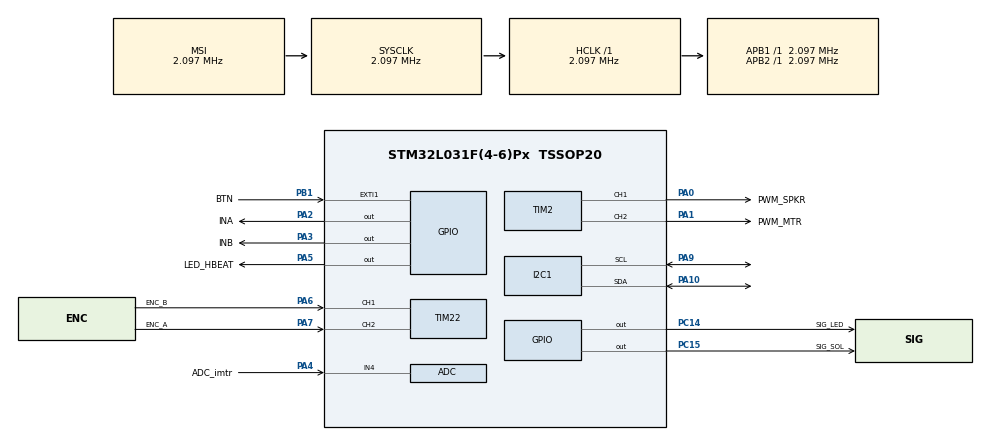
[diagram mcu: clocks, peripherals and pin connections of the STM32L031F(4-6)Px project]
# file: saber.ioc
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Mcu.Family=STM32L0
Mcu.Name=STM32L031F(4-6)Px
Mcu.Package=TSSOP20
NVIC.EXTI0_1_IRQn=true\:0\:0\:false\:false\:true\:true\:true
PA0-CK_IN.GPIO_Label=PWM_SPKR
PA0-CK_IN.Signal=S_TIM2_CH1
PA1.GPIO_Label=PWM_MTR
PA1.Signal=S_TIM2_CH2
PA10.Mode=I2C
PA10.Signal=I2C1_SDA
PA13.Mode=Serial_Wire
PA13.Signal=SYS_SWDIO
PA14.Mode=Serial_Wire
PA14.Signal=SYS_SWCLK
PA2.GPIO_Label=INA
PA2.GPIO_Speed=GPIO_SPEED_FREQ_LOW
PA2.Signal=GPIO_Output
PA3.GPIO_Label=INB
PA3.Signal=GPIO_Output
PA4.GPIO_Label=ADC_imtr
PA4.Mode=IN4
PA4.Signal=ADC_IN4
PA5.GPIO_Label=LED_HBEAT
PA5.GPIO_ModeDefaultOutputPP=GPIO_MODE_OUTPUT_OD
PA5.GPIO_PuPd=GPIO_PULLUP
PA5.Signal=GPIO_Output
PA6.GPIO_Label=ENC_B
PA6.Signal=S_TIM22_CH1
PA7.GPIO_Label=ENC_A
PA7.Signal=S_TIM22_CH2
PA9.Mode=I2C
PA9.Signal=I2C1_SCL
PB1.GPIO_Label=BTN
PB1.GPIO_ModeDefaultEXTI=GPIO_MODE_IT_RISING
PB1.GPIO_PuPd=GPIO_PULLDOWN
PB1.Signal=GPXTI1
PC14-OSC32_IN.GPIO_Label=SIG_LED
PC14-OSC32_IN.GPIO_ModeDefaultOutputPP=GPIO_MODE_OUTPUT_OD
PC14-OSC32_IN.GPIO_PuPd=GPIO_PULLUP
PC14-OSC32_IN.Signal=GPIO_Output
PC15-OSC32_OUT.GPIO_Label=SIG_SOL
PC15-OSC32_OUT.GPIO_ModeDefaultOutputPP=GPIO_MODE_OUTPUT_OD
PC15-OSC32_OUT.GPIO_PuPd=GPIO_PULLUP
PC15-OSC32_OUT.Signal=GPIO_Output
ProjectManager.HeapSize=0x200
ProjectManager.StackSize=0x400
ProjectManager.TargetToolchain=STM32CubeIDE
RCC.AHBFreq_Value=2097000
RCC.APB1Freq_Value=2097000
RCC.APB1TimFreq_Value=2097000
RCC.APB2Freq_Value=2097000
RCC.APB2TimFreq_Value=2097000
RCC.HSE_VALUE=8000000
RCC.HSI16_VALUE=16000000
RCC.HSI_VALUE=16000000
RCC.LSE_VALUE=32768
RCC.MSI_VALUE=2097000
RCC.SYSCLKFreq_VALUE=2097000
RCC.VCOOutputFreq_Value=48000000
SH.S_TIM22_CH1.0=TIM22_CH1,Encoder_Interface
SH.S_TIM22_CH2.0=TIM22_CH2,Encoder_Interface
SH.S_TIM2_CH1.0=TIM2_CH1,PWM Generation1 CH1
SH.S_TIM2_CH2.0=TIM2_CH2,PWM Generation2 CH2
TIM2.Channel-PWM\ Generation1\ CH1=TIM_CHANNEL_1
TIM2.Channel-PWM\ Generation2\ CH2=TIM_CHANNEL_2
board=custom

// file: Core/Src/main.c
/* USER CODE BEGIN Header */
/**
  ******************************************************************************
  * @file           : main.c
  * @brief          : Main program body
  ******************************************************************************
  * @attention
  *
  * <h2><center>&copy; Copyright (c) 2021 STMicroelectronics.
  * All rights reserved.</center></h2>
  *
  * This software component is licensed by ST under BSD 3-Clause license,
  * the "License"; You may not use this file except in compliance with the
  * License. You may obtain a copy of the License at:
  *                        opensource.org/licenses/BSD-3-Clause
  *
  ******************************************************************************
  */
/* USER CODE END Header */

#include "main.h"

/* USER CODE BEGIN Includes */
#include "hardware.h"
/* USER CODE END Includes */

/* USER CODE BEGIN PD */
#define DO_HBEAT
/* USER CODE END PD */

ADC_HandleTypeDef hadc;

I2C_HandleTypeDef hi2c1;

TIM_HandleTypeDef htim2;
TIM_HandleTypeDef htim22;

/* USER CODE BEGIN PV */

SABER_ExecState SaberState = SABER_OFF;

// Communication
HAL_StatusTypeDef out = HAL_OK;

// Global Timing
uint32_t ticksPerSec;  // for timing: stm32l0xx_hal.h, period2ticks
uint32_t lastTick_DEBOUNCE = 0;
uint32_t ticksDEBOUNCE;

/* USER CODE END PV */

void SystemClock_Config(void);
static void MX_GPIO_Init(void);
static void MX_I2C1_Init(void);
static void MX_ADC_Init(void);
static void MX_TIM2_Init(void);
static void MX_TIM22_Init(void);
/* USER CODE BEGIN PFP */
static inline void nextState_USER(void);
static inline void execSaberExtend(void);
static inline void execSaberRetract(void);
static inline uint32_t Period2Ticks(float);
static inline uint16_t accVal(uint8_t*);
/* USER CODE END PFP */

int main(void)
{
  /* USER CODE BEGIN 1 */
  __disable_irq();  // wait for setup
  static const uint8_t accRaw[10] = {0,0,0,0,0,0,0,0,0,0};
  static const uint8_t accTxPacket[1] = {ACC_X_MSB_ADDR};
  /* USER CODE END 1 */

  /* MCU Configuration--------------------------------------------------------*/

  /* Reset of all peripherals, Initializes the Flash interface and the Systick. */
  HAL_Init();

  /* Configure the system clock */
  SystemClock_Config();

  /* USER CODE BEGIN SysInit */
  // Timing Configuration
  switch (uwTickFreq) {
    case HAL_TICK_FREQ_10HZ :
      ticksPerSec = 10;
      break;
    case HAL_TICK_FREQ_100HZ :
      ticksPerSec = 100;
      break;
    case HAL_TICK_FREQ_1KHZ :
      ticksPerSec = 1000;
      break;
    default :
      Error_Handler();
  }
  uint32_t ticks_HBEAT = Period2Ticks(T_HBEAT);
  uint32_t ticks_ACC = Period2Ticks(T_ACC);
  ticksDEBOUNCE = Period2Ticks(T_DEBOUNCE);
  /* USER CODE END SysInit */

  /* Initialize all configured peripherals */
  MX_GPIO_Init();
  MX_I2C1_Init();
  MX_ADC_Init();
  MX_TIM2_Init();
  MX_TIM22_Init();
  /* USER CODE BEGIN 2 */
  uint16_t xacc,yacc,zacc;
  uint32_t lastTick_HBEAT = 0;  // reset ticks
  uint32_t lastTick_ACC = 0;
  /* USER CODE END 2 */

  /* Infinite loop */
  /* USER CODE BEGIN WHILE */
  HAL_ADC_Start(&hadc);
  __enable_irq();  // start program
  while (1) {
    // State Behavior
    switch (SaberState) {
      case SABER_OFF:
        break;
      case SABER_EXTEND:
        execSaberExtend();
        SaberState = SABER_ON;
        break;
      case SABER_RETRACT:
        execSaberRetract();
        SaberState = SABER_OFF;
        break;
      case SABER_ON:
        break;  // TODO: accelerometer noises
      default:
        Error_Handler();
        break;
    }

    #ifdef DO_HBEAT
    // Heartbeat
    if (uwTick - lastTick_HBEAT > ticks_HBEAT) {
      HAL_GPIO_TogglePin(LED_HBEAT_GPIO_Port, LED_HBEAT_Pin);
      lastTick_HBEAT = uwTick;
    }
    #endif  // DO_HBEAT

    #ifdef DO_ACC
    // Accelerometer
    if ( (uwTick - lastTick_ACC > ticks_ACC) ) {
      out = HAL_OK;
      __disable_irq();
      out |= HAL_I2C_Master_Transmit(&ACC_I2C, ACC_ADDR<<1, accTxPacket, 1, HAL_MAX_DELAY);
      out |= HAL_I2C_Master_Receive(&ACC_I2C, ACC_ADDR<<1, accRaw, 10, HAL_MAX_DELAY);
      if (out != HAL_OK) {Error_Handler();}
      __enable_irq();
      xacc = accVal(accRaw);
      yacc = accVal(accRaw+2);
      zacc = accVal(accRaw+4);
      lastTick_ACC = uwTick;
    }
    #endif  // DO_ACC
  }
  /* USER CODE END WHILE */

}

void SystemClock_Config(void)
{
  RCC_OscInitTypeDef RCC_OscInitStruct = {0};
  RCC_ClkInitTypeDef RCC_ClkInitStruct = {0};
  RCC_PeriphCLKInitTypeDef PeriphClkInit = {0};

  /** Configure the main internal regulator output voltage
  */
  __HAL_PWR_VOLTAGESCALING_CONFIG(PWR_REGULATOR_VOLTAGE_SCALE1);
  /** Initializes the CPU, AHB and APB busses clocks
  */
  RCC_OscInitStruct.OscillatorType = RCC_OSCILLATORTYPE_MSI;
  RCC_OscInitStruct.MSIState = RCC_MSI_ON;
  RCC_OscInitStruct.MSICalibrationValue = 0;
  RCC_OscInitStruct.MSIClockRange = RCC_MSIRANGE_5;
  RCC_OscInitStruct.PLL.PLLState = RCC_PLL_NONE;
  if (HAL_RCC_OscConfig(&RCC_OscInitStruct) != HAL_OK)
  {
    Error_Handler();
  }
  /** Initializes the CPU, AHB and APB busses clocks
  */
  RCC_ClkInitStruct.ClockType = RCC_CLOCKTYPE_HCLK|RCC_CLOCKTYPE_SYSCLK
                              |RCC_CLOCKTYPE_PCLK1|RCC_CLOCKTYPE_PCLK2;
  RCC_ClkInitStruct.SYSCLKSource = RCC_SYSCLKSOURCE_MSI;
  RCC_ClkInitStruct.AHBCLKDivider = RCC_SYSCLK_DIV1;
  RCC_ClkInitStruct.APB1CLKDivider = RCC_HCLK_DIV1;
  RCC_ClkInitStruct.APB2CLKDivider = RCC_HCLK_DIV1;

  if (HAL_RCC_ClockConfig(&RCC_ClkInitStruct, FLASH_LATENCY_0) != HAL_OK)
  {
    Error_Handler();
  }
  PeriphClkInit.PeriphClockSelection = RCC_PERIPHCLK_I2C1;
  PeriphClkInit.I2c1ClockSelection = RCC_I2C1CLKSOURCE_PCLK1;
  if (HAL_RCCEx_PeriphCLKConfig(&PeriphClkInit) != HAL_OK)
  {
    Error_Handler();
  }
}

static void MX_ADC_Init(void)
{

  ADC_ChannelConfTypeDef sConfig = {0};

  /** Configure the global features of the ADC (Clock, Resolution, Data Alignment and number of conversion)
  */
  hadc.Instance = ADC1;
  hadc.Init.OversamplingMode = DISABLE;
  hadc.Init.ClockPrescaler = ADC_CLOCK_SYNC_PCLK_DIV1;
  hadc.Init.Resolution = ADC_RESOLUTION_12B;
  hadc.Init.SamplingTime = ADC_SAMPLETIME_1CYCLE_5;
  hadc.Init.ScanConvMode = ADC_SCAN_DIRECTION_FORWARD;
  hadc.Init.DataAlign = ADC_DATAALIGN_RIGHT;
  hadc.Init.ContinuousConvMode = DISABLE;
  hadc.Init.DiscontinuousConvMode = DISABLE;
  hadc.Init.ExternalTrigConvEdge = ADC_EXTERNALTRIGCONVEDGE_NONE;
  hadc.Init.ExternalTrigConv = ADC_SOFTWARE_START;
  hadc.Init.DMAContinuousRequests = DISABLE;
  hadc.Init.EOCSelection = ADC_EOC_SINGLE_CONV;
  hadc.Init.Overrun = ADC_OVR_DATA_PRESERVED;
  hadc.Init.LowPowerAutoWait = DISABLE;
  hadc.Init.LowPowerFrequencyMode = DISABLE;
  hadc.Init.LowPowerAutoPowerOff = DISABLE;
  if (HAL_ADC_Init(&hadc) != HAL_OK)
  {
    Error_Handler();
  }
  /** Configure for the selected ADC regular channel to be converted.
  */
  sConfig.Channel = ADC_CHANNEL_4;
  sConfig.Rank = ADC_RANK_CHANNEL_NUMBER;
  if (HAL_ADC_ConfigChannel(&hadc, &sConfig) != HAL_OK)
  {
    Error_Handler();
  }

}

static void MX_I2C1_Init(void)
{

  hi2c1.Instance = I2C1;
  hi2c1.Init.Timing = 0x00000708;
  hi2c1.Init.OwnAddress1 = 0;
  hi2c1.Init.AddressingMode = I2C_ADDRESSINGMODE_7BIT;
  hi2c1.Init.DualAddressMode = I2C_DUALADDRESS_DISABLE;
  hi2c1.Init.OwnAddress2 = 0;
  hi2c1.Init.OwnAddress2Masks = I2C_OA2_NOMASK;
  hi2c1.Init.GeneralCallMode = I2C_GENERALCALL_DISABLE;
  hi2c1.Init.NoStretchMode = I2C_NOSTRETCH_DISABLE;
  if (HAL_I2C_Init(&hi2c1) != HAL_OK)
  {
    Error_Handler();
  }
  /** Configure Analogue filter
  */
  if (HAL_I2CEx_ConfigAnalogFilter(&hi2c1, I2C_ANALOGFILTER_ENABLE) != HAL_OK)
  {
    Error_Handler();
  }
  /** Configure Digital filter
  */
  if (HAL_I2CEx_ConfigDigitalFilter(&hi2c1, 0) != HAL_OK)
  {
    Error_Handler();
  }
  /* USER CODE BEGIN I2C1_Init 2 */
	#ifdef DO_ACC
  // Set accelerometer to active, MMA8452 datasheet p11
  static uint8_t d[2] = {ACC_CTRL_REG1, 1};
  __disable_irq();
  if (HAL_I2C_Master_Transmit(&ACC_I2C, ACC_ADDR<<1, d, 2, HAL_MAX_DELAY) != HAL_OK) Error_Handler();
  __enable_irq();
  #endif  // DO_ACC
  /* USER CODE END I2C1_Init 2 */

}

static void MX_TIM2_Init(void)
{

  TIM_MasterConfigTypeDef sMasterConfig = {0};
  TIM_OC_InitTypeDef sConfigOC = {0};

  htim2.Instance = TIM2;
  htim2.Init.Prescaler = 0;
  htim2.Init.CounterMode = TIM_COUNTERMODE_UP;
  htim2.Init.Period = 0;
  htim2.Init.ClockDivision = TIM_CLOCKDIVISION_DIV1;
  htim2.Init.AutoReloadPreload = TIM_AUTORELOAD_PRELOAD_DISABLE;
  if (HAL_TIM_PWM_Init(&htim2) != HAL_OK)
  {
    Error_Handler();
  }
  sMasterConfig.MasterOutputTrigger = TIM_TRGO_RESET;
  sMasterConfig.MasterSlaveMode = TIM_MASTERSLAVEMODE_DISABLE;
  if (HAL_TIMEx_MasterConfigSynchronization(&htim2, &sMasterConfig) != HAL_OK)
  {
    Error_Handler();
  }
  sConfigOC.OCMode = TIM_OCMODE_PWM1;
  sConfigOC.Pulse = 0;
  sConfigOC.OCPolarity = TIM_OCPOLARITY_HIGH;
  sConfigOC.OCFastMode = TIM_OCFAST_DISABLE;
  if (HAL_TIM_PWM_ConfigChannel(&htim2, &sConfigOC, TIM_CHANNEL_1) != HAL_OK)
  {
    Error_Handler();
  }
  if (HAL_TIM_PWM_ConfigChannel(&htim2, &sConfigOC, TIM_CHANNEL_2) != HAL_OK)
  {
    Error_Handler();
  }
  HAL_TIM_MspPostInit(&htim2);

}

static void MX_TIM22_Init(void)
{

  TIM_Encoder_InitTypeDef sConfig = {0};
  TIM_MasterConfigTypeDef sMasterConfig = {0};

  htim22.Instance = TIM22;
  htim22.Init.Prescaler = 0;
  htim22.Init.CounterMode = TIM_COUNTERMODE_UP;
  htim22.Init.Period = 0;
  htim22.Init.ClockDivision = TIM_CLOCKDIVISION_DIV1;
  htim22.Init.AutoReloadPreload = TIM_AUTORELOAD_PRELOAD_DISABLE;
  sConfig.EncoderMode = TIM_ENCODERMODE_TI1;
  sConfig.IC1Polarity = TIM_ICPOLARITY_RISING;
  sConfig.IC1Selection = TIM_ICSELECTION_DIRECTTI;
  sConfig.IC1Prescaler = TIM_ICPSC_DIV1;
  sConfig.IC1Filter = 0;
  sConfig.IC2Polarity = TIM_ICPOLARITY_RISING;
  sConfig.IC2Selection = TIM_ICSELECTION_DIRECTTI;
  sConfig.IC2Prescaler = TIM_ICPSC_DIV1;
  sConfig.IC2Filter = 0;
  if (HAL_TIM_Encoder_Init(&htim22, &sConfig) != HAL_OK)
  {
    Error_Handler();
  }
  sMasterConfig.MasterOutputTrigger = TIM_TRGO_RESET;
  sMasterConfig.MasterSlaveMode = TIM_MASTERSLAVEMODE_DISABLE;
  if (HAL_TIMEx_MasterConfigSynchronization(&htim22, &sMasterConfig) != HAL_OK)
  {
    Error_Handler();
  }

}

static void MX_GPIO_Init(void)
{
  GPIO_InitTypeDef GPIO_InitStruct = {0};

  /* GPIO Ports Clock Enable */
  __HAL_RCC_GPIOC_CLK_ENABLE();
  __HAL_RCC_GPIOA_CLK_ENABLE();
  __HAL_RCC_GPIOB_CLK_ENABLE();

  /*Configure GPIO pin Output Level */
  HAL_GPIO_WritePin(GPIOC, SIG_LED_Pin|SIG_SOL_Pin, GPIO_PIN_RESET);

  /*Configure GPIO pin Output Level */
  HAL_GPIO_WritePin(GPIOA, INA_Pin|INB_Pin|LED_HBEAT_Pin, GPIO_PIN_RESET);

  /*Configure GPIO pins : SIG_LED_Pin SIG_SOL_Pin */
  GPIO_InitStruct.Pin = SIG_LED_Pin|SIG_SOL_Pin;
  GPIO_InitStruct.Mode = GPIO_MODE_OUTPUT_OD;
  GPIO_InitStruct.Pull = GPIO_PULLUP;
  GPIO_InitStruct.Speed = GPIO_SPEED_FREQ_LOW;
  HAL_GPIO_Init(GPIOC, &GPIO_InitStruct);

  /*Configure GPIO pins : INA_Pin INB_Pin */
  GPIO_InitStruct.Pin = INA_Pin|INB_Pin;
  GPIO_InitStruct.Mode = GPIO_MODE_OUTPUT_PP;
  GPIO_InitStruct.Pull = GPIO_NOPULL;
  GPIO_InitStruct.Speed = GPIO_SPEED_FREQ_LOW;
  HAL_GPIO_Init(GPIOA, &GPIO_InitStruct);

  /*Configure GPIO pin : LED_HBEAT_Pin */
  GPIO_InitStruct.Pin = LED_HBEAT_Pin;
  GPIO_InitStruct.Mode = GPIO_MODE_OUTPUT_OD;
  GPIO_InitStruct.Pull = GPIO_PULLUP;
  GPIO_InitStruct.Speed = GPIO_SPEED_FREQ_LOW;
  HAL_GPIO_Init(LED_HBEAT_GPIO_Port, &GPIO_InitStruct);

  /*Configure GPIO pin : BTN_Pin */
  GPIO_InitStruct.Pin = BTN_Pin;
  GPIO_InitStruct.Mode = GPIO_MODE_IT_RISING;
  GPIO_InitStruct.Pull = GPIO_PULLDOWN;
  HAL_GPIO_Init(BTN_GPIO_Port, &GPIO_InitStruct);

  /* EXTI interrupt init*/
  HAL_NVIC_SetPriority(EXTI0_1_IRQn, 0, 0);
  HAL_NVIC_EnableIRQ(EXTI0_1_IRQn);

}

/* USER CODE BEGIN 4 */

/*****************************************************************************
 * STATE BEHAVIOR
 ****************************************************************************/
/**
  * @brief  EXTI line detection callbacks.
  * @param  GPIO_Pin Specifies the pins connected to the EXTI line.
  * @retval None
  */
void HAL_GPIO_EXTI_Callback(uint16_t GPIO_Pin)
{
//  btnPresses++;
  __disable_irq();
  switch (GPIO_Pin) {
    case BTN_Pin:
      if (uwTick-lastTick_DEBOUNCE > ticksDEBOUNCE) {
        nextState_USER();
        lastTick_DEBOUNCE = uwTick;
      }
      break;
  }
  __enable_irq();
}

/** @defgroup Exec_Saber_State  Saber state subroutines.
  * @{
  */

/**
  * @brief  Advance saber state from user input.
  * @retval None
  */
static inline void nextState_USER(void)
{
  switch (SaberState) {
    case SABER_LOW_BATT:
      break;
    case SABER_OFF:
      SaberState = SABER_EXTEND;
      break;
    case SABER_EXTEND:
      SaberState = SABER_RETRACT;
      break;
    case SABER_ON:
      SaberState = SABER_RETRACT;
      break;
    case SABER_RETRACT:  // TODO: it won't just jump like this, will it?
      SaberState = SABER_EXTEND;
      break;
    default:
      Error_Handler();
      break;
  }
}

/**
  * @brief  Execute Saber Extension Sequence
  * @retval None
  *
  * TODO: blink lights
  * TODO: play extension noise
  */
static inline void execSaberExtend(void)
{
  HAL_GPIO_WritePin(SIG_LED_GPIO_Port, SIG_LED_Pin, GPIO_PIN_SET);
}

/**
  * @brief  Execute Saber Retraction Sequence
  * @retval None
  *
  * TODO: blink lights
  * TODO: play retraction noise
  */
static inline void execSaberRetract(void)
{
  HAL_GPIO_WritePin(SIG_LED_GPIO_Port, SIG_LED_Pin, GPIO_PIN_RESET);
}

/*****************************************************************************
 *
 ****************************************************************************/
/**
 * @brief Convert Period to Number of System Ticks
 * @param T execution period in seconds
 * @retval Execution period in system ticks
 */
static inline uint32_t Period2Ticks(float T)
{
	return (uint32_t)(T * ticksPerSec);
}

/**
 * @brief Convert I2C Data to Accelerometer Reading
 * @note See hardware.h accelerometer section for details.
 * @param d length-2 uint8 accelerometer data
 * @retval Acceleration in counts
 */
static inline uint16_t accVal(uint8_t*d)
{
  return ((*d)<<ACC_BIT0_SHIFT) + (*(d+1)<<ACC_BIT1_SHIFT);
}
/*****************************************************************************
 * MOTOR CONTROL
 ****************************************************************************/
#ifdef DO_MTR
static inline void mtrCtl(void)
{
  asm("NOOP");  // TODO: remove
  // TODO: update PWM
  // TODO: compute motor dir
  // TODO: compute motor torque
}
#endif  // DO_MTR

/* USER CODE END 4 */

void Error_Handler(void)
{
  /* USER CODE BEGIN Error_Handler_Debug */
  /* User can add his own implementation to report the HAL error return state */
  __disable_irq();
  while (1)
  {
    // Turn off motor
    HAL_GPIO_WritePin(PWM_MTR_GPIO_Port,PWM_MTR_Pin,GPIO_PIN_RESET);
    HAL_GPIO_WritePin(INA_GPIO_Port,INA_Pin,GPIO_PIN_RESET);
    HAL_GPIO_WritePin(INB_GPIO_Port,INB_Pin,GPIO_PIN_RESET);
    // Disable speaker
    HAL_GPIO_WritePin(PWM_SPKR_GPIO_Port,PWM_SPKR_Pin,GPIO_PIN_RESET);
    // Disable power led
    HAL_GPIO_WritePin(SIG_LED_GPIO_Port,SIG_LED_Pin,GPIO_PIN_RESET);
    // Turn on hbeat led
    HAL_GPIO_WritePin(LED_HBEAT_GPIO_Port,LED_HBEAT_Pin,GPIO_PIN_SET);
  }
  /* USER CODE END Error_Handler_Debug */
}

/************************ (C) COPYRIGHT STMicroelectronics *****END OF FILE****/
